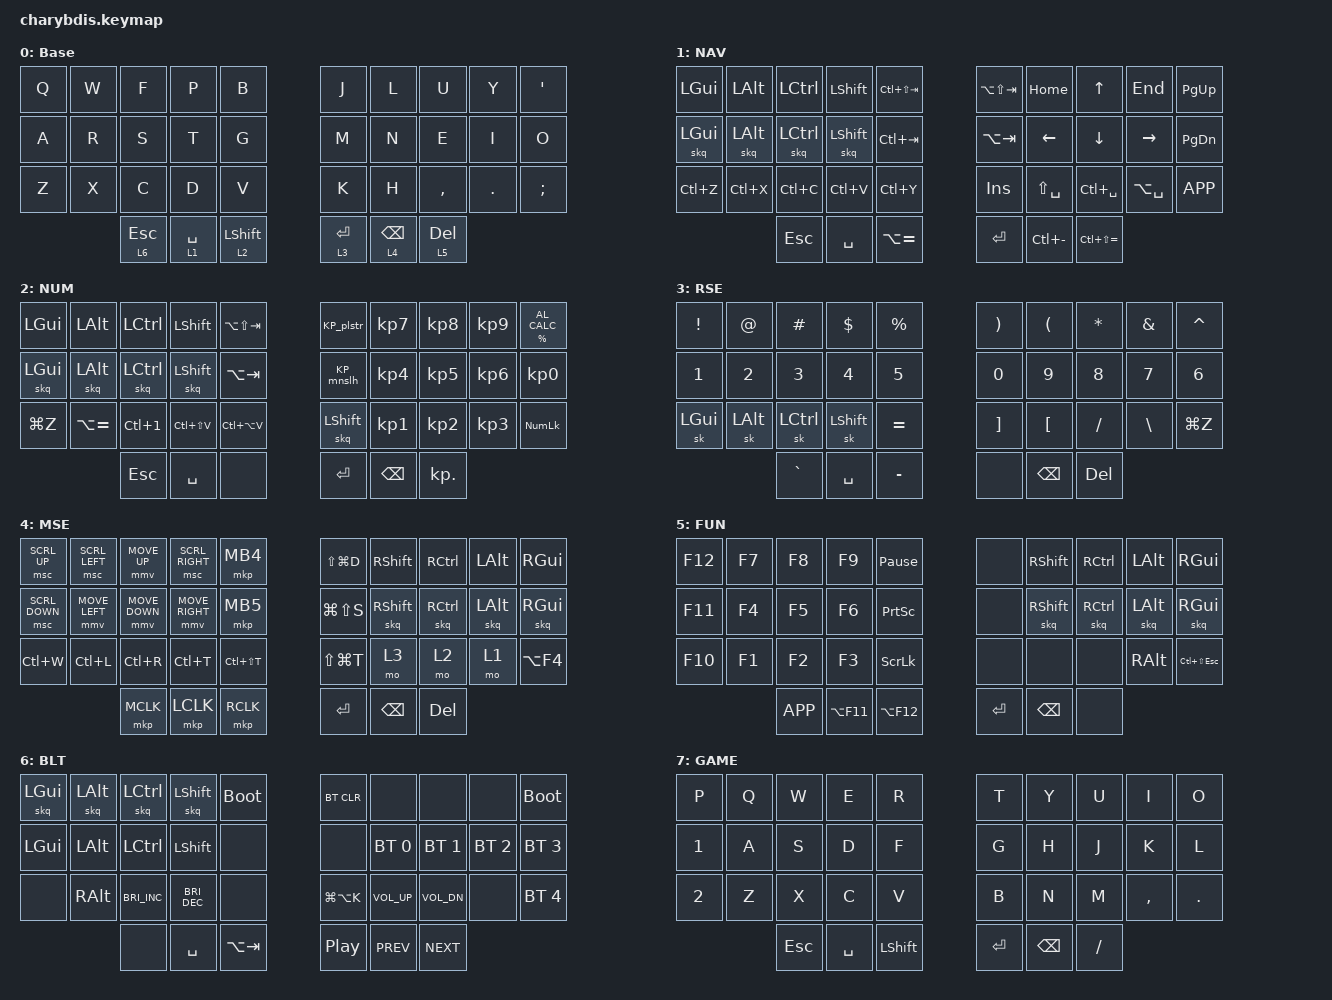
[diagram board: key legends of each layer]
// -*- mode: c -*-
/*
 * Charybdis Nano36 (36 keys) — direct port of Temper_zmk (36 keys).
 *
 * Position map (matches Temper's own position numbering exactly, since this
 * board has the full 5-col/3-row + 3-thumb-per-side shape Temper was
 * designed for — unlike the Nano35 port, nothing had to be dropped or
 * worked around here):
 *    0  1  2  3  4       5  6  7  8  9
 *   10 11 12 13 14      15 16 17 18 19
 *   20 21 22 23 24      25 26 27 28 29
 *         30 31 32      33 34 35
 *
 * All behaviors, combos and layer bindings below are copied from
 * Temper_zmk/config/temper.keymap unchanged. The only addition is wiring
 * the real PMW3610 trackball (under the right thumb) into Temper's own
 * documented three-gear speed concept (NAV=1/3, NUM=1/2, RSE=3x) — Temper
 * itself only had virtual mmv/msc "keyboard mouse" keys since the original
 * board has no pointing hardware; here the same ratios drive the physical
 * ball instead. The virtual mmv/msc block in the MSE layer is kept as-is
 * (harmless, gives a two-handed alternative, same as the Nano35 port).
 *
 * SPDX-License-Identifier: MIT
 */

#include <dt-bindings/zmk/mouse.h>
#include <input/processors.dtsi>

#define ZMK_POINTING_DEFAULT_MOVE_VAL 1800
#define ZMK_MOUSE_DEFAULT_SCRL_VAL 20

#include <behaviors.dtsi>
#include <dt-bindings/zmk/bt.h>
#include <dt-bindings/zmk/keys.h>
#include <dt-bindings/zmk/pointing.h>

/*
 * Real trackball gearbox: the shield overlay already sets
 * scroll-layers = <1> on &trackball (holding NAV turns the ball into a
 * scroll wheel instead of a cursor). The speed ratios mirroring Temper's
 * documented NAV/NUM/RSE gears (1/3, 1/2, 3x) live in
 * boards/shields/charybdis/charybdis_right.overlay instead of here, since
 * &trackball_listener only exists on the right-shield build (this keymap
 * file compiles for both halves).
 */

/ {
    behaviors {
        mmv {
            acceleration-exponent = <2>;
            time-to-max-speed-ms = <40>;
            delay-ms = <0>;
        };

        mo_tog: mo_tog {
            compatible = "zmk,behavior-hold-tap";
            label = "MO_TOG";
            bindings = <&mo>, <&tog>;
            #binding-cells = <2>;
            tapping-term-ms = <200>;
            quick-tap-ms = <180>;
        };

        skq: sticky_key_quick_release {
            compatible = "zmk,behavior-sticky-key";
            #binding-cells = <1>;
            bindings = <&kp>;
            release-after-ms = <1000>;
            quick-release;
            ignore-modifiers;
        };

        sk_mo: sk_mo {
            compatible = "zmk,behavior-hold-tap";
            label = "SK_MO";
            bindings = <&mo>, <&skq>;
            #binding-cells = <2>;
            tapping-term-ms = <200>;
            flavor = "tap-preferred";
        };

        tt: tog_tap {
            compatible = "zmk,behavior-hold-tap";
            #binding-cells = <2>;
            flavor = "tap-preferred";
            hold-while-undecided;
            require-prior-idle-ms = <150>;
            tapping-term-ms = <200>;
            bindings = <&mo>, <&tog>;
            display-name = "Tog-Tap";
        };

        td_lt: tap_dance_layer_tap {
            compatible = "zmk,behavior-tap-dance";
            #binding-cells = <0>;
            tapping-term-ms = <200>;
            bindings = <&tt 3 3>, <&kp ENTER>;
        };

        mt: mod_tap {
            compatible = "zmk,behavior-hold-tap";
            #binding-cells = <2>;
            flavor = "tap-preferred";
            require-prior-idle-ms = <150>;
            tapping-term-ms = <200>;
            bindings = <&kp>, <&kp>;
            display-name = "Mod-Tap";
        };

        lpb: left_paren_brace {
            compatible = "zmk,behavior-mod-morph";
            #binding-cells = <0>;
            bindings = <&kp LPAR>, <&kp LBRC>;
            mods = <(MOD_LSFT|MOD_RSFT)>;
        };

        rpb: right_paren_brace {
            compatible = "zmk,behavior-mod-morph";
            #binding-cells = <0>;
            bindings = <&kp RPAR>, <&kp RBRC>;
            mods = <(MOD_LSFT|MOD_RSFT)>;
        };

        plstr: plus_star {
            compatible = "zmk,behavior-mod-morph";
            #binding-cells = <0>;
            bindings = <&kp PLUS>, <&kp STAR>;
            mods = <(MOD_LSFT|MOD_RSFT)>;
        };

        mnslh: minus_slash {
            compatible = "zmk,behavior-mod-morph";
            #binding-cells = <0>;
            bindings = <&kp MINUS>, <&kp FSLH>;
            mods = <(MOD_LSFT|MOD_RSFT)>;
        };

        KP_plstr: KP_plus_star {
            compatible = "zmk,behavior-mod-morph";
            #binding-cells = <0>;
            bindings = <&kp KP_PLUS>, <&kp KP_MULTIPLY>;
            mods = <(MOD_LSFT|MOD_RSFT)>;
        };

        KP_mnslh: KP_minus_slash {
            compatible = "zmk,behavior-mod-morph";
            #binding-cells = <0>;
            bindings = <&kp KP_MINUS>, <&kp KP_DIVIDE>;
            mods = <(MOD_LSFT|MOD_RSFT)>;
        };
    };

    combos {
        compatible = "zmk,combos";

        // Layer toggles
        tognav     { bindings = <&tog 1>; key-positions = <8 18>;  require-prior-idle-ms = <150>; layers = <0 1>; };
        tognum     { bindings = <&tog 2>; key-positions = <17 27>; require-prior-idle-ms = <150>; layers = <0 2>; };
        togsym     { bindings = <&tog 3>; key-positions = <23 26>; require-prior-idle-ms = <150>; layers = <0 3>; };
        togmouse   { bindings = <&tog 4>; key-positions = <1  11>; require-prior-idle-ms = <150>; layers = <0 4>; };
        toggaming  { bindings = <&tog 7>; key-positions = <6 7 8>; require-prior-idle-ms = <150>; layers = <0>; };
        exitgaming { bindings = <&tog 7>; key-positions = <32 33>; require-prior-idle-ms = <150>; layers = <7>; };

        // Layer 7 is gaming (toggaming/exitgaming combos above)
        tobase { bindings = <&to 0>; key-positions = <32 33>; require-prior-idle-ms = <150>; layers = <1 2 3 4 5 6>; };

        // Modifiers
        altcombo   { bindings = <&kp LALT>;  key-positions = <21 22>; require-prior-idle-ms = <150>; layers = <0>; };
        qmarkcombo { bindings = <&kp QMARK>; key-positions = <27 28>; require-prior-idle-ms = <150>; layers = <0>; };

        // Special functions
        langswitchcombo { bindings = <&kp LG(SPACE)>; key-positions = <12 13>; require-prior-idle-ms = <150>; layers = <0>; };
        capslockcombo   { bindings = <&kp CAPS>;      key-positions = <22 23>; require-prior-idle-ms = <150>; layers = <0>; };
        msetogglecombo  { bindings = <&tog 4>;        key-positions = <3 6>;   require-prior-idle-ms = <150>; layers = <0 4>; };
        msemomentary    { bindings = <&mo 4>;         key-positions = <15 16>; require-prior-idle-ms = <150>; layers = <0>; };
        tabcombo        { bindings = <&kp TAB>;       key-positions = <16 17>; require-prior-idle-ms = <150>; layers = <0>; };

        // Left hand symbols
        bslashcombo   { bindings = <&kp BSLH>;         key-positions = <10 11>; require-prior-idle-ms = <150>; layers = <0>; };
        lftbrcktcombo { bindings = <&kp LEFT_BRACKET>; key-positions = <11 12>; require-prior-idle-ms = <150>; layers = <0>; };
        lftbrccombo   { bindings = <&kp LEFT_BRACE>;   key-positions = <2  12>; require-prior-idle-ms = <150>; layers = <0>; };

        // Right hand symbols
        rgtbrcktcombo { bindings = <&kp RIGHT_BRACKET>; key-positions = <17 18>; require-prior-idle-ms = <150>; layers = <0>; };
        fslashcombo   { bindings = <&kp SLASH>;         key-positions = <18 19>; require-prior-idle-ms = <150>; layers = <0>; };
        rgtbrccombo   { bindings = <&kp RIGHT_BRACE>;   key-positions = <7  17>; require-prior-idle-ms = <150>; layers = <0>; };

        // Top row symbols
        lftparencombo { bindings = <&kp LEFT_PARENTHESIS>;  key-positions = <2 3>; require-prior-idle-ms = <150>; layers = <0>; };
        rgtparencombo { bindings = <&kp RIGHT_PARENTHESIS>; key-positions = <6 7>; require-prior-idle-ms = <150>; layers = <0>; };
        pipecombo     { bindings = <&kp PIPE>;              key-positions = <1 2>; require-prior-idle-ms = <150>; layers = <0>; };
        equalcombo    { bindings = <&kp EQUAL>;             key-positions = <7 8>; require-prior-idle-ms = <150>; layers = <0>; };

        // Bottom row
        undercombo { bindings = <&kp UNDER>; key-positions = <25 26>; require-prior-idle-ms = <150>; layers = <0>; };
        minuscombo { bindings = <&kp MINUS>; key-positions = <26 27>; require-prior-idle-ms = <150>; layers = <0>; };

        // Layer 2 specific Num Layer
        combo_space   { bindings = <&kp SPACE>; key-positions = <26 27>; require-prior-idle-ms = <150>; layers = <2>; };
        combo_decimal { bindings = <&kp DOT>;   key-positions = <27 28>; require-prior-idle-ms = <150>; layers = <2>; };
    };

    keymap {
        compatible = "zmk,keymap";

        base {
            display-name = "Base";
            bindings = <
  &kp Q  &kp W  &kp F       &kp P       &kp B           &kp J     &kp L      &kp U     &kp Y   &kp SQT
  &kp A  &kp R  &kp S       &kp T       &kp G           &kp M     &kp N      &kp E     &kp I   &kp O
  &kp Z  &kp X  &kp C       &kp D       &kp V           &kp K     &kp H      &kp COMMA &kp DOT &kp SEMI
                &lt 6 ESC   &lt 1 SPACE &sk_mo 2 LSHFT  &lt 3 RET &lt 4 BSPC &lt 5 DEL
            >;
        };

        nav {
            display-name = "NAV";
            bindings = <
  &kp LGUI   &kp LALT  &kp LCTRL  &kp LSHFT  &kp LC(LS(TAB))   &kp LA(LS(TAB)) &kp HOME      &kp UP        &kp END       &kp PG_UP
  &skq LGUI  &skq LALT &skq LCTRL &skq LSHFT &kp LC(TAB)       &kp LA(TAB)     &kp LEFT      &kp DOWN      &kp RIGHT     &kp PG_DN
  &kp LC(Z)  &kp LC(X) &kp LC(C)  &kp LC(V)  &kp LC(Y)         &kp INS         &kp LS(SPACE) &kp LC(SPACE) &kp LA(SPACE) &kp K_APP
                        &kp ESC    &kp SPACE  &kp LA(EQUAL)     &kp RET         &kp LC(MINUS) &kp LC(LS(EQUAL))
            >;
        };

        num {
            display-name = "NUM";
            bindings = <
  &kp LGUI   &kp LALT       &kp LCTRL   &kp LSHFT      &kp LA(LS(TAB))    &KP_plstr  &kp KP_N7 &kp KP_N8  &kp KP_N9  &mt PERCENT C_AL_CALC
  &skq LGUI  &skq LALT      &skq LCTRL  &skq LSHFT     &kp LA(TAB)        &KP_mnslh  &kp KP_N4 &kp KP_N5  &kp KP_N6  &kp KP_N0
  &kp LG(Z)  &kp LA(EQUAL)  &kp LC(N1)  &kp LC(LS(V))  &kp LC(LA(V))      &skq LSHFT &kp KP_N1 &kp KP_N2  &kp KP_N3  &kp KP_NLCK
                            &kp ESC     &kp SPACE      &none              &kp RET    &kp BSPC   &kp KP_DOT
            >;
        };

        raise {
            display-name = "RSE";
            bindings = <
  &kp EXCL &kp AT   &kp HASH  &kp DLLR  &kp PRCNT &kp RPAR &kp LPAR &kp STAR &kp AMPS &kp CARET
  &kp N1   &kp N2   &kp N3    &kp N4    &kp N5    &kp N0   &kp N9   &kp N8   &kp N7   &kp N6
  &sk LGUI &sk LALT &sk LCTRL &sk LSHFT &kp EQUAL &kp RBKT &kp LBKT &kp FSLH &kp BSLH &kp LG(Z)
                    &kp GRAVE &kp SPACE &kp MINUS &none    &kp BSPC &kp DEL
            >;
        };

        mouse {
            display-name = "MSE";
            bindings = <
  &msc SCRL_UP    &msc SCRL_LEFT  &mmv MOVE_UP    &msc SCRL_RIGHT  &mkp MB4         &kp LS(LG(D))  &kp RSHFT  &kp RCTRL  &kp LALT  &kp RGUI
  &msc SCRL_DOWN  &mmv MOVE_LEFT  &mmv MOVE_DOWN  &mmv MOVE_RIGHT  &mkp MB5         &kp LG(LS(S))  &skq RSHFT &skq RCTRL &skq LALT &skq RGUI
  &kp LC(W)       &kp LC(L)       &kp LC(R)       &kp LC(T)        &kp LC(LS(T))    &kp LS(LG(T))  &mo 3      &mo 2      &mo 1     &kp LA(F4)
                                  &mkp MCLK       &mkp LCLK        &mkp RCLK        &kp RET        &kp BSPC   &kp DEL
            >;
        };

        fun {
            display-name = "FUN";
            bindings = <
  &kp F12  &kp F7  &kp F8     &kp F9      &kp PAUSE_BREAK   &none   &kp RSHFT   &kp RCTRL  &kp LALT  &kp RGUI
  &kp F11  &kp F4  &kp F5     &kp F6      &kp PSCRN         &none   &skq RSHFT  &skq RCTRL &skq LALT &skq RGUI
  &kp F10  &kp F1  &kp F2     &kp F3      &kp SLCK          &none   &none       &none      &kp RALT  &kp LC(LS(ESC))
                    &kp K_APP  &kp LA(F11) &kp LA(F12)       &kp RET &kp BSPC    &none
            >;
        };

        blt {
            display-name = "BLT";
            bindings = <
  &skq LGUI &skq LALT &skq LCTRL    &skq LSHFT      &bootloader    &bt BT_CLR     &none        &none        &none        &bootloader
  &kp LGUI  &kp LALT  &kp LCTRL     &kp LSHFT       &none          &none          &bt BT_SEL 0 &bt BT_SEL 1 &bt BT_SEL 2 &bt BT_SEL 3
  &none     &kp RALT  &kp C_BRI_INC &kp C_BRI_DEC   &none          &kp LG(LA(K))  &kp C_VOL_UP &kp C_VOL_DN &none        &bt BT_SEL 4
                      &none         &kp SPACE       &kp LA(TAB)    &kp C_PP       &kp C_PREV   &kp C_NEXT
            >;
        };

        gaming {
            display-name = "GAME";
            bindings = <
  &kp P  &kp Q  &kp W  &kp E  &kp R  &kp T    &kp Y  &kp U    &kp I     &kp O
  &kp N1 &kp A  &kp S  &kp D  &kp F  &kp G    &kp H  &kp J    &kp K     &kp L
  &kp N2 &kp Z  &kp X  &kp C  &kp V  &kp B    &kp N  &kp M    &kp COMMA &kp DOT
                &kp ESC &kp SPACE &kp LSHFT    &kp RET &kp BSPC &kp FSLH
            >;
        };
    };
};
